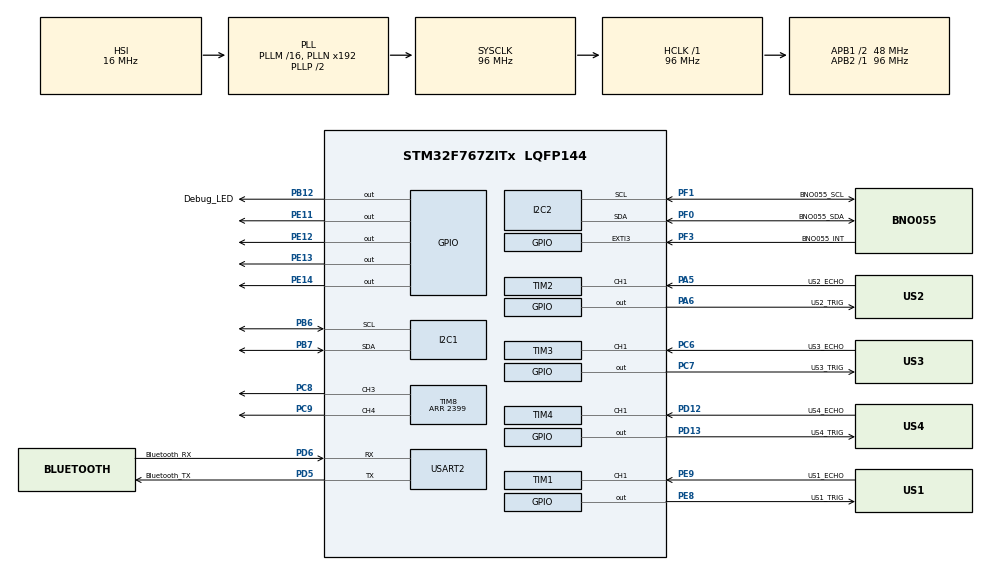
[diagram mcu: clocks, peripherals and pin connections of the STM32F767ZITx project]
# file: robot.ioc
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CORTEX_M7.default_mode_Activation=1
I2C1.Timing=0x20303E5D
I2C2.Timing=0x20303E5D
Mcu.Family=STM32F7
Mcu.Name=STM32F767ZITx
Mcu.Package=LQFP144
NVIC.EXTI3_IRQn=true\:0\:0\:false\:false\:true\:true\:true\:true
NVIC.PriorityGroup=NVIC_PRIORITYGROUP_4
NVIC.TIM1_BRK_TIM9_IRQn=true\:0\:0\:false\:false\:true\:true\:true\:true
NVIC.TIM1_CC_IRQn=true\:0\:0\:true\:false\:true\:true\:true\:true
NVIC.TIM2_IRQn=true\:0\:0\:true\:false\:true\:true\:true\:true
NVIC.TIM3_IRQn=true\:0\:0\:true\:false\:true\:true\:true\:true
NVIC.TIM4_IRQn=true\:0\:0\:true\:false\:true\:true\:true\:true
NVIC.USART2_IRQn=true\:2\:0\:true\:false\:true\:true\:true\:true
PA5.GPIO_Label=US2_ECHO
PA5.Signal=S_TIM2_CH1_ETR
PA6.GPIO_Label=US2_TRIG
PA6.Signal=GPIO_Output
PB12.GPIO_Label=Debug_LED
PB12.Signal=GPIO_Output
PB6.GPIO_Pu=GPIO_PULLUP
PB6.Mode=I2C
PB6.Signal=I2C1_SCL
PB7.GPIO_Pu=GPIO_PULLUP
PB7.Mode=I2C
PB7.Signal=I2C1_SDA
PC6.GPIO_Label=US3_ECHO
PC6.Signal=S_TIM3_CH1
PC7.GPIO_Label=US3_TRIG
PC7.Signal=GPIO_Output
PC8.Signal=S_TIM8_CH3
PC9.Signal=S_TIM8_CH4
PD12.GPIO_Label=US4_ECHO
PD12.Signal=S_TIM4_CH1
PD13.GPIO_Label=US4_TRIG
PD13.Signal=GPIO_Output
PD5.GPIO_Label=Bluetooth_TX
PD5.Mode=Asynchronous
PD5.Signal=USART2_TX
PD6.GPIO_Label=Bluetooth_RX
PD6.Mode=Asynchronous
PD6.Signal=USART2_RX
PE11.Signal=GPIO_Output
PE12.Signal=GPIO_Output
PE13.Signal=GPIO_Output
PE14.Signal=GPIO_Output
PE8.GPIO_Label=US1_TRIG
PE8.Signal=GPIO_Output
PE9.GPIO_Label=US1_ECHO
PE9.Signal=S_TIM1_CH1
PF0.GPIO_Label=BNO055_SDA
PF0.Mode=I2C
PF0.Signal=I2C2_SDA
PF1.GPIO_Label=BNO055_SCL
PF1.Mode=I2C
PF1.Signal=I2C2_SCL
PF3.GPIO_Label=BNO055_INT
PF3.Signal=GPXTI3
ProjectManager.HeapSize=0x200
ProjectManager.StackSize=0x400
ProjectManager.TargetToolchain=STM32CubeIDE
RCC.AHBFreq_Value=96000000
RCC.APB1CLKDivider=RCC_HCLK_DIV2
RCC.APB1Freq_Value=48000000
RCC.APB1TimFreq_Value=96000000
RCC.APB2Freq_Value=96000000
RCC.APB2TimFreq_Value=96000000
RCC.CortexFreq_Value=96000000
RCC.HCLKFreq_Value=96000000
RCC.HSE_VALUE=25000000
RCC.HSI_VALUE=16000000
RCC.LSE_VALUE=32768
RCC.SYSCLKFreq_VALUE=96000000
RCC.SYSCLKSource=RCC_SYSCLKSOURCE_PLLCLK
RCC.USBFreq_Value=96000000
RCC.VCOOutputFreq_Value=192000000
SH.S_TIM1_CH1.0=TIM1_CH1,Input_Capture1_from_TI1
SH.S_TIM2_CH1_ETR.0=TIM2_CH1,Input_Capture1_from_TI1
SH.S_TIM3_CH1.0=TIM3_CH1,Input_Capture1_from_TI1
SH.S_TIM4_CH1.0=TIM4_CH1,Input_Capture1_from_TI1
SH.S_TIM8_CH3.0=TIM8_CH3,PWM Generation3 CH3
SH.S_TIM8_CH4.0=TIM8_CH4,PWM Generation4 CH4
TIM1.Channel-Input_Capture1_from_TI1=TIM_CHANNEL_1
TIM1.Period=0xffff-1
TIM1.Prescaler=96-1
TIM2.Channel-Input_Capture1_from_TI1=TIM_CHANNEL_1
TIM2.Period=0xffff-1
TIM2.Prescaler=96-1
TIM3.Channel-Input_Capture1_from_TI1=TIM_CHANNEL_1
TIM3.Period=0xffff-1
TIM3.Prescaler=96-1
TIM4.Channel-Input_Capture1_from_TI1=TIM_CHANNEL_1
TIM4.Period=0xffff-1
TIM4.Prescaler=96-1
TIM8.Channel-PWM\ Generation3\ CH3=TIM_CHANNEL_3
TIM8.Channel-PWM\ Generation4\ CH4=TIM_CHANNEL_4
TIM8.Period=2399
TIM9.Period=62499
TIM9.Prescaler=383
USART2.VirtualMode-Asynchronous=VM_ASYNC
VP_TIM1_VS_ClockSourceINT.Mode=Internal
VP_TIM2_VS_ClockSourceINT.Mode=Internal
VP_TIM3_VS_ClockSourceINT.Mode=Internal
VP_TIM4_VS_ClockSourceINT.Mode=Internal
VP_TIM9_VS_ClockSourceINT.Mode=Internal
board=custom

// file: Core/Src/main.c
/* USER CODE BEGIN Header */
/**
  ******************************************************************************
  * @file           : main.c
  * @brief          : Main program body
  ******************************************************************************
  * @attention
  *
  * Copyright (c) 2025 STMicroelectronics.
  * All rights reserved.
  *
  * This software is licensed under terms that can be found in the LICENSE file
  * in the root directory of this software component.
  * If no LICENSE file comes with this software, it is provided AS-IS.
  *
  ******************************************************************************
  */
/* USER CODE END Header */
#include "main.h"

/* USER CODE BEGIN Includes */
#include "string.h"
#include "i2c-lcd.h"
#include "accel.h"
#include "math.h"
/* USER CODE END Includes */

/* USER CODE BEGIN PM */

#define BUFFER_SIZE 8 // 1 address, 6 for different expected data, 1 device status
#define BASE_STATE_BUSY 0
#define BASE_STATE_READY 1

#define TRIG_PORT_FRONT GPIOC
#define TRIG_PIN_FRONT GPIO_PIN_7

#define TRIG_PORT_BACK GPIOE
#define TRIG_PIN_BACK GPIO_PIN_8

#define TRIG_PORT_LEFT GPIOA
#define TRIG_PIN_LEFT GPIO_PIN_6

#define TRIG_PORT_RIGHT GPIOD
#define TRIG_PIN_RIGHT GPIO_PIN_13

#define LEFT_IC htim11
#define LEFT_IC_CHANNEL TIM_CHANNEL_1
#define LEFT_PWM htim8
#define LEFT_PWM_CHANNEL TIM_CHANNEL_4
#define LEFT_FORWARD GPIOE
#define LEFT_FORWARD_PIN GPIO_PIN_14
#define LEFT_REVERSE GPIOE
#define LEFT_REVERSE_PIN GPIO_PIN_13

#define RIGHT_IC htim10
#define RIGHT_IC_CHANNEL TIM_CHANNEL_1
#define RIGHT_PWM htim8
#define RIGHT_PWM_CHANNEL TIM_CHANNEL_3
#define RIGHT_FORWARD GPIOE
#define RIGHT_FORWARD_PIN GPIO_PIN_11
#define RIGHT_REVERSE GPIOE
#define RIGHT_REVERSE_PIN GPIO_PIN_12

#define error_t 10
#define pwm_period 2399
/* USER CODE END PM */

I2C_HandleTypeDef hi2c1;
I2C_HandleTypeDef hi2c2;

TIM_HandleTypeDef htim1;
TIM_HandleTypeDef htim2;
TIM_HandleTypeDef htim3;
TIM_HandleTypeDef htim4;
TIM_HandleTypeDef htim8;
TIM_HandleTypeDef htim9;

UART_HandleTypeDef huart2;

/* USER CODE BEGIN PV */

// For device communication
uint8_t base_rx_buffer [BUFFER_SIZE] = {0};  // RX Buffer (for communication with Base)
uint8_t base_tx_buffer [BUFFER_SIZE] = {0};  // TX Buffer (for communication with Base)
volatile uint8_t base_state = BASE_STATE_BUSY;  // State of the base (initialize to busy)
uint8_t ready_confirm_string [BUFFER_SIZE - 2] = {'0', '0', 'r', 'r', 'd', 'y'};
uint8_t move_success_string [BUFFER_SIZE - 2] = {'0', '0', 's', 'u', 'c', 'c'};
uint8_t move_fail_string [BUFFER_SIZE - 2] = {'0', '0', 'f', 'a', 'i', 'l'};
// "Test" string ONLY
uint8_t test2 [6] = {'d', 'e', 'e', 'z', 'n', 't'};

// For ultrasonic sensor reading
uint32_t idx = 0;
uint32_t val1 = 0;
uint32_t val2 = 0;
uint32_t distance [4] = {0};
uint8_t is_first_captured = 0;  // in cm
uint32_t distance_threshold = 10;  // threshold is 10 cm
uint8_t detection_status [6] = {0};
/*
 * Sensor position breakdown:
 * distance[0] -> front
 * distance[1] -> back
 * distance[2] -> left
 * distance[3] -> right
 */

// For IMU
uint8_t imu_readings[LIN_ACC_NUMBER_OF_BYTES + EULER_NUMBER_OF_BYTES];
int16_t euler_heading_raw = 0;

//for motor controller
int facing = 0;
float tide_angle = 0;
int tim9_counter = 0;
int ic_overrun = 0;

/* USER CODE END PV */

void SystemClock_Config(void);
static void MPU_Config(void);
static void MX_GPIO_Init(void);
static void MX_I2C2_Init(void);
static void MX_TIM1_Init(void);
static void MX_TIM2_Init(void);
static void MX_TIM3_Init(void);
static void MX_TIM4_Init(void);
static void MX_USART2_UART_Init(void);
static void MX_I2C1_Init(void);
static void MX_TIM8_Init(void);
static void MX_TIM9_Init(void);
/* USER CODE BEGIN PFP */

// For Device Communication
void Send_to_Base (uint8_t addr, uint8_t *data, uint8_t is_ready);
void Receive_from_Base(void);
void Interpret_Commands(uint8_t *rx_buffer);

// For Ultrasonics
void delay_in_us (uint16_t time, TIM_HandleTypeDef *htim);
void poll_ultrasonic (void);

// For Motors Controller
void Start_Diff_PWM(void);
void motors_controller(float on_r, float on_l);
void move(float x, float angle);

/* USER CODE END PFP */

/* USER CODE BEGIN 0 */

/************************ DEVICE COMMUNICATION (BLUETOOTH) ********************/

// Interpret commands
void Interpret_Commands(uint8_t *rx_buffer) {
	// Respond after establishing connection with Jetson
	if (strstr((const char * ) rx_buffer, "jrdy")) {
		Send_to_Base('0', ready_confirm_string, 1);
	}
	// Poll ultrasonic sensors
	else if (strstr((const char * ) rx_buffer, "poll")) {
		poll_ultrasonic();
	}
	// Start requested movement and rotation
	else if (strstr((const char * ) rx_buffer, "mve")) {
		// Define some variables
		float requested_heading;
		float do_move = 0;

		// Interpret requested movement
		if (rx_buffer[5] == '1') {
			do_move = 1;
		}
		else if (rx_buffer[5] == '0') {
			do_move = 0;
		}

		// Interpret requested rotation
		requested_heading = (float)(rx_buffer[6]) * 360 / 255;

		// MOVE!!
		poll_IMU(&hi2c2, imu_readings);
		euler_heading_raw = (((int16_t)((uint8_t *)(imu_readings))[5] << 8) | ((uint8_t *)(imu_readings))[4]);
		tide_angle = ((float)(euler_heading_raw))/16.0f;

		move(do_move, requested_heading);
		Send_to_Base('0', move_success_string,1);

		// Verify current heading is close to requested heading
		/*if ((tide_angle >= requested_heading - 10) && ((tide_angle <= requested_heading + 10) || (requested_heading > 350))) {
			Send_to_Base('0', move_success_string, 1);
		}
		else {
			Send_to_Base('0', move_fail_string, 1);
		}*/
	}
}

// Function to send bytes to Base
void Send_to_Base (uint8_t addr, uint8_t *data, uint8_t is_ready) {
	while (base_state != BASE_STATE_READY) {}
	// Assign address
	base_tx_buffer[0] = addr;
	// Assign data (until before the last byte)
	for (int i = 1; i < BUFFER_SIZE - 1; i++) {
		base_tx_buffer[i] = data[i - 1];
	}
	// Assign status byte
	if (is_ready) {
		base_tx_buffer[BUFFER_SIZE - 1] = 'r';
	}
	else {
		base_tx_buffer[BUFFER_SIZE - 1] = 'n';
	}
	// Transmit data packet
	HAL_UART_Transmit_IT(&huart2, base_tx_buffer, BUFFER_SIZE);
}

// Function to Receive bytes from Base
void Receive_from_Base(void) {
	HAL_UART_Receive_IT(&huart2, base_rx_buffer, BUFFER_SIZE);
}

// Callback function after transmitting data
void HAL_UART_TxCpltCallback(UART_HandleTypeDef *huart) {
	if (huart->Instance == huart2.Instance) {
		// Transmission fully complete, now listen for any messages from base
		base_state = BASE_STATE_BUSY;
		Receive_from_Base();
	}
}

// Callback function after receiving data
void HAL_UART_RxCpltCallback(UART_HandleTypeDef *huart) {
	if (huart->Instance == huart2.Instance) {
		// Ready?
		if (base_rx_buffer[BUFFER_SIZE - 1] == 'r') {
			base_state = BASE_STATE_READY;
		}
		// Is this for Robot?
		if (base_rx_buffer[0] == '2') {
			// Interpret commands
			Interpret_Commands(base_rx_buffer);
		}
	}
}

/*************************** ULTRASONIC SENSOR READING ************************/

// Function that delays in microseconds (usec)
void delay_in_us (uint16_t time, TIM_HandleTypeDef *htim) {
	__HAL_TIM_SET_COUNTER(htim, 0);
	while (__HAL_TIM_GET_COUNTER(htim) <  time);
}

// Poll ultrasonic sensors
void poll_ultrasonic (void) {
	// Front Sensor
	idx = 0;
	HAL_GPIO_WritePin(TRIG_PORT_FRONT, TRIG_PIN_FRONT, GPIO_PIN_SET);  // pull the TRIG pin HIGH
	delay_in_us(10, &htim3);  // wait for 10 us
	HAL_GPIO_WritePin(TRIG_PORT_FRONT, TRIG_PIN_FRONT, GPIO_PIN_RESET);  // pull the TRIG pin low
	__HAL_TIM_ENABLE_IT(&htim3, TIM_IT_CC1);
	HAL_Delay(10);
	while(is_first_captured != 0);

	// Back Sensor
	idx = 1;

	HAL_GPIO_WritePin(TRIG_PORT_BACK, TRIG_PIN_BACK, GPIO_PIN_SET);  // pull the TRIG pin HIGH
	delay_in_us(10, &htim1);  // wait for 10 us
	HAL_GPIO_WritePin(TRIG_PORT_BACK, TRIG_PIN_BACK, GPIO_PIN_RESET);  // pull the TRIG pin low
	__HAL_TIM_ENABLE_IT(&htim1, TIM_IT_CC1);
	HAL_Delay(10);
	while(is_first_captured != 0);

	// Left Sensor
	idx = 2;
	HAL_GPIO_WritePin(TRIG_PORT_LEFT, TRIG_PIN_LEFT, GPIO_PIN_SET);  // pull the TRIG pin HIGH
	delay_in_us(10, &htim2);  // wait for 10 us
	HAL_GPIO_WritePin(TRIG_PORT_LEFT, TRIG_PIN_LEFT, GPIO_PIN_RESET);  // pull the TRIG pin low
	__HAL_TIM_ENABLE_IT(&htim2, TIM_IT_CC1);
	HAL_Delay(10);
	while(is_first_captured != 0);

	// Right Sensor
	idx = 3;
	HAL_GPIO_WritePin(TRIG_PORT_RIGHT, TRIG_PIN_RIGHT, GPIO_PIN_SET);  // pull the TRIG pin HIGH
	delay_in_us(10, &htim4);  // wait for 10 us
	HAL_GPIO_WritePin(TRIG_PORT_RIGHT, TRIG_PIN_RIGHT, GPIO_PIN_RESET);  // pull the TRIG pin low
	__HAL_TIM_ENABLE_IT(&htim4, TIM_IT_CC1);
	HAL_Delay(10);
	while(is_first_captured != 0);

	// Display Detection Status on LCD Screen
	lcd_put_cur(1, 2);
	lcd_send_data(detection_status[0]);
	lcd_put_cur(1, 6);
	lcd_send_data(detection_status[1]);
	lcd_put_cur(1, 10);
	lcd_send_data(detection_status[2]);
	lcd_put_cur(1, 14);
	lcd_send_data(detection_status[3]);

	// Set last bytes to '0'
	detection_status[4] = '0';
	detection_status[5] = '0';

	// Send detection status to Jetson
	Send_to_Base('0', detection_status, 1);
}

// Input Capture Callback Function
void HAL_TIM_IC_CaptureCallback (TIM_HandleTypeDef *htim) {
	if (htim->Channel == HAL_TIM_ACTIVE_CHANNEL_1) { // If the interrupt source is channel 1
		if (is_first_captured == 0) { // If the first value is not captured
			val1 = HAL_TIM_ReadCapturedValue(htim, TIM_CHANNEL_1); // Read the first value
			is_first_captured = 1;
			// Change the polarity to falling edge
			__HAL_TIM_SET_CAPTUREPOLARITY(htim, TIM_CHANNEL_1, TIM_INPUTCHANNELPOLARITY_FALLING);
		}
		else if (is_first_captured == 1) { // If the first is already captured
			uint32_t diff;
			val2 = HAL_TIM_ReadCapturedValue(htim, TIM_CHANNEL_1);  // Read second value
			__HAL_TIM_SET_COUNTER(htim, 0);  // Reset the counter

			if (val2 > val1) {
				diff = val2 - val1; // diff is in microseconds
			}

			else if (val1 > val2) {
				diff = (0xffff - val1) + val2;  // diff is in microseconds
			}

			distance[idx] = diff * .034/2;  // UNITS BREAKDOWN: (10^(-6) s) * (10^4 m/s) = 10^(-2) m = cm -> distance is in cm
			is_first_captured = 0; // Set back to false

			// Set polarity to rising edge
			__HAL_TIM_SET_CAPTUREPOLARITY(htim, TIM_CHANNEL_1, TIM_INPUTCHANNELPOLARITY_RISING);
			__HAL_TIM_DISABLE_IT(htim, TIM_IT_CC1);

			// Compare with distance threshold
			if (distance[idx] < distance_threshold) {
				detection_status[idx] = '1';  // obstacle detected!
			}
			else {
				detection_status[idx] = '0';  // no obstacle detected
			}
		}
	}
}

/************************ MOTOR CONTROLLER ********************/
void Start_Diff_PWM(void) {
	HAL_TIM_PWM_Start(&htim8, TIM_CHANNEL_3);
	__HAL_TIM_SET_COMPARE(&htim8, TIM_CHANNEL_3, 0);
	HAL_TIM_PWM_Start(&htim8, TIM_CHANNEL_4);
	__HAL_TIM_SET_COMPARE(&htim8, TIM_CHANNEL_4, 0);
}

void move(float x, float angle) {
	/*while(fabs(angle - tide_angle) > error_t) {
		poll_IMU(&hi2c2, imu_readings);
		euler_heading_raw = (((int16_t)((uint8_t *)(imu_readings))[5] << 8) | ((uint8_t *)(imu_readings))[4]);
		tide_angle = ((float)(euler_heading_raw))/16.0f;
		float angle_diff = fabs(angle - tide_angle);
		//assume within tolerance, not enough time in project to do otherwise
		//if angle difference is positive, turn right
		//if angle difference is negative, turn left
		if(angle_diff < 0) {
			while(angle_diff < error_t) {
				poll_IMU(&hi2c2, imu_readings);
				euler_heading_raw = (((int16_t)((uint8_t *)(imu_readings))[5] << 8) | ((uint8_t *)(imu_readings))[4]);
				tide_angle = ((float)(euler_heading_raw))/16.0f;
				motors_controller(1, -1);
				angle_diff = fabs(angle - tide_angle);
			}
		}
		else if(angle_diff > 0) {
			while(angle_diff > error_t) {
				poll_IMU(&hi2c2, imu_readings);
				euler_heading_raw = (((int16_t)((uint8_t *)(imu_readings))[5] << 8) | ((uint8_t *)(imu_readings))[4]);
				tide_angle = ((float)(euler_heading_raw))/16.0f;
				motors_controller(-1, 1);
				angle_diff = fabs(angle - tide_angle);
			}
		}
	}*/
	//calculated equation. assume x is in 6 inch intervals
	if(x == 1) {
		motors_controller(1,1);
		HAL_TIM_Base_Start_IT(&htim9);
		TIM9 -> CR1 |= 0b1;
		//wait for timer to overrun the 4.25 second period
		while(!ic_overrun);
		motors_controller(0,0);
		TIM9 -> CNT = 0;
		ic_overrun = 0;
		tim9_counter = 0;
	}
}

void motors_controller(float on_r, float on_l) {
	if(on_r == 1) {
		HAL_GPIO_WritePin(RIGHT_REVERSE, RIGHT_REVERSE_PIN, GPIO_PIN_RESET);
		HAL_GPIO_WritePin(RIGHT_FORWARD, RIGHT_FORWARD_PIN, GPIO_PIN_SET);
		__HAL_TIM_SET_COMPARE(&RIGHT_PWM, RIGHT_PWM_CHANNEL, 0.8 * pwm_period);
	}
	else if(on_r == -1) {
		HAL_GPIO_WritePin(RIGHT_FORWARD, RIGHT_FORWARD_PIN, GPIO_PIN_RESET);
		HAL_GPIO_WritePin(RIGHT_REVERSE, RIGHT_REVERSE_PIN, GPIO_PIN_SET);
		__HAL_TIM_SET_COMPARE(&RIGHT_PWM, RIGHT_PWM_CHANNEL, 0.8 * pwm_period);
	}
	else {
		__HAL_TIM_SET_COMPARE(&RIGHT_PWM, RIGHT_PWM_CHANNEL, 0);
		HAL_GPIO_WritePin(RIGHT_FORWARD, RIGHT_FORWARD_PIN, GPIO_PIN_RESET);
		HAL_GPIO_WritePin(RIGHT_REVERSE, RIGHT_REVERSE_PIN, GPIO_PIN_RESET);
	}

	if(on_l == 1) {
		HAL_GPIO_WritePin(LEFT_REVERSE, LEFT_REVERSE_PIN, GPIO_PIN_RESET);
		HAL_GPIO_WritePin(LEFT_FORWARD, LEFT_FORWARD_PIN, GPIO_PIN_SET);
		__HAL_TIM_SET_COMPARE(&LEFT_PWM, LEFT_PWM_CHANNEL, 0.778 * pwm_period);
	}
	else if(on_l == -1) {
		HAL_GPIO_WritePin(LEFT_FORWARD, LEFT_FORWARD_PIN, GPIO_PIN_RESET);
		HAL_GPIO_WritePin(LEFT_REVERSE, LEFT_REVERSE_PIN, GPIO_PIN_SET);
		__HAL_TIM_SET_COMPARE(&LEFT_PWM, LEFT_PWM_CHANNEL, 0.778 * pwm_period);
	}
	else {
		__HAL_TIM_SET_COMPARE(&LEFT_PWM, LEFT_PWM_CHANNEL, 0);
		HAL_GPIO_WritePin(LEFT_FORWARD, LEFT_FORWARD_PIN, GPIO_PIN_RESET);
		HAL_GPIO_WritePin(LEFT_REVERSE, LEFT_REVERSE_PIN, GPIO_PIN_RESET);
	}
}

void HAL_TIM_PeriodElapsedCallback(TIM_HandleTypeDef *htim) {
	if(htim->Instance == htim9.Instance){
		__HAL_TIM_CLEAR_IT(htim, TIM_IT_UPDATE);
		tim9_counter++;
		if(tim9_counter >= 17){
			ic_overrun = 1;
			TIM9 -> CR1 &= ~0b1;
		}
	}
}

/* USER CODE END 0 */

int main(void)
{

  /* USER CODE BEGIN 1 */
	/*
	int16_t euler_data [3];
	float euler_heading, euler_roll, euler_pitch;
	float euler_heading_abs, euler_roll_abs, euler_pitch_abs;
	*/

  /* USER CODE END 1 */

  /* MPU Configuration--------------------------------------------------------*/
  MPU_Config();

  /* MCU Configuration--------------------------------------------------------*/

  /* Reset of all peripherals, Initializes the Flash interface and the Systick. */
  HAL_Init();
  Start_Diff_PWM();

  /* Configure the system clock */
  SystemClock_Config();

  /* Initialize all configured peripherals */
  MX_GPIO_Init();
  MX_I2C2_Init();
  MX_TIM1_Init();
  MX_TIM2_Init();
  MX_TIM3_Init();
  MX_TIM4_Init();
  MX_USART2_UART_Init();
  MX_I2C1_Init();
  MX_TIM8_Init();
  MX_TIM9_Init();
  /* USER CODE BEGIN 2 */

  // Turn ON Debug LED
  HAL_GPIO_WritePin(GPIOB, GPIO_PIN_12, 1);

  // Comment when not using LCD screen
  lcd_init();

  // lcd_send_string("TID-E - Team 14");

  // Display intial stuff
  lcd_send_string (" Px  Nx  Py  Ny");
  lcd_put_cur(1, 2);
  lcd_send_string("0   0   0   0");

  // Start and configure IMU
  BNO055_Init_I2C(&hi2c2);

  // Start receiving from base
  Receive_from_Base();

  /* USER CODE END 2 */

  /* Infinite loop */
  while (1)
  {

    /* USER CODE BEGIN 3 */
	  /*
	  poll_ultrasonic();
	  lcd_put_cur(1, 2);
	  lcd_send_data(detection_status[0]);
	  lcd_put_cur(1, 6);
	  lcd_send_data(detection_status[1]);
	  lcd_put_cur(1, 10);
	  lcd_send_data(detection_status[2]);
	  lcd_put_cur(1, 14);
	  lcd_send_data(detection_status[3]);
	  */

	  /*
	  HAL_Delay(100);
	  // Poll IMU
	  poll_IMU(&hi2c2, imu_readings);
	  euler_data[0] = (((int16_t)((uint8_t *)(imu_readings))[5] << 8) | ((uint8_t *)(imu_readings))[4]);
	  euler_data[1] = (((int16_t)((uint8_t *)(imu_readings))[7] << 8) | ((uint8_t *)(imu_readings))[6]);
	  euler_data[2] = (((int16_t)((uint8_t *)(imu_readings))[9] << 8) | ((uint8_t *)(imu_readings))[8]);

	  // Get Euler angles in degrees
	  euler_heading = ((float)(euler_data[0]))/16.0f;
	  euler_roll = ((float)(euler_data[1]))/16.0f;
	  euler_pitch = ((float)(euler_data[2]))/16.0f;

	  // Get absolute magnitude of Euler angles
	  euler_heading_abs = (euler_heading < 0) ? -euler_heading : euler_heading;
	  euler_roll_abs = (euler_roll < 0) ? -euler_roll : euler_roll;
	  euler_pitch_abs = (euler_pitch < 0) ? -euler_pitch : euler_pitch;

	  // Print euler_heading
	  lcd_put_cur(1, 0);
	  lcd_send_string((euler_heading < 0) ? "-" : "+");
	  lcd_send_data((((int)(euler_heading_abs) / 100) % 10) + 48);   // 100th pos
	  lcd_send_data((((int)(euler_heading_abs) / 10) % 10) + 48);  // 10th pos
	  lcd_send_data(((int)(euler_heading_abs) % 10) + 48);  // 1st pos

	  // Print euler_roll
	  lcd_put_cur(1, 6);
	  lcd_send_string((euler_roll < 0) ? "-" : "+");
	  lcd_send_data((((int)(euler_roll_abs) / 100) % 10) + 48);   // 100th pos
	  lcd_send_data((((int)(euler_roll_abs) / 10) % 10) + 48);  // 10th pos
	  lcd_send_data(((int)(euler_roll_abs) % 10) + 48);  // 1st pos

	  // Print euler_pitch
	  lcd_put_cur(1, 12);
	  lcd_send_string((euler_pitch < 0) ? "-" : "+");
	  lcd_send_data((((int)(euler_pitch_abs) / 100) % 10) + 48);   // 100th pos
	  lcd_send_data((((int)(euler_pitch_abs) / 10) % 10) + 48);  // 10th pos
	  lcd_send_data(((int)(euler_pitch_abs) % 10) + 48);  // 1st pos
	  */

  }
  /* USER CODE END 3 */
}

void SystemClock_Config(void)
{
  RCC_OscInitTypeDef RCC_OscInitStruct = {0};
  RCC_ClkInitTypeDef RCC_ClkInitStruct = {0};

  /** Configure the main internal regulator output voltage
  */
  __HAL_RCC_PWR_CLK_ENABLE();
  __HAL_PWR_VOLTAGESCALING_CONFIG(PWR_REGULATOR_VOLTAGE_SCALE3);

  /** Initializes the RCC Oscillators according to the specified parameters
  * in the RCC_OscInitTypeDef structure.
  */
  RCC_OscInitStruct.OscillatorType = RCC_OSCILLATORTYPE_HSI;
  RCC_OscInitStruct.HSIState = RCC_HSI_ON;
  RCC_OscInitStruct.HSICalibrationValue = RCC_HSICALIBRATION_DEFAULT;
  RCC_OscInitStruct.PLL.PLLState = RCC_PLL_ON;
  RCC_OscInitStruct.PLL.PLLSource = RCC_PLLSOURCE_HSI;
  RCC_OscInitStruct.PLL.PLLM = 16;
  RCC_OscInitStruct.PLL.PLLN = 192;
  RCC_OscInitStruct.PLL.PLLP = RCC_PLLP_DIV2;
  RCC_OscInitStruct.PLL.PLLQ = 2;
  RCC_OscInitStruct.PLL.PLLR = 2;
  if (HAL_RCC_OscConfig(&RCC_OscInitStruct) != HAL_OK)
  {
    Error_Handler();
  }

  /** Activate the Over-Drive mode
  */
  if (HAL_PWREx_EnableOverDrive() != HAL_OK)
  {
    Error_Handler();
  }

  /** Initializes the CPU, AHB and APB buses clocks
  */
  RCC_ClkInitStruct.ClockType = RCC_CLOCKTYPE_HCLK|RCC_CLOCKTYPE_SYSCLK
                              |RCC_CLOCKTYPE_PCLK1|RCC_CLOCKTYPE_PCLK2;
  RCC_ClkInitStruct.SYSCLKSource = RCC_SYSCLKSOURCE_PLLCLK;
  RCC_ClkInitStruct.AHBCLKDivider = RCC_SYSCLK_DIV1;
  RCC_ClkInitStruct.APB1CLKDivider = RCC_HCLK_DIV2;
  RCC_ClkInitStruct.APB2CLKDivider = RCC_HCLK_DIV1;

  if (HAL_RCC_ClockConfig(&RCC_ClkInitStruct, FLASH_LATENCY_3) != HAL_OK)
  {
    Error_Handler();
  }
}

static void MX_I2C1_Init(void)
{

  hi2c1.Instance = I2C1;
  hi2c1.Init.Timing = 0x20303E5D;
  hi2c1.Init.OwnAddress1 = 0;
  hi2c1.Init.AddressingMode = I2C_ADDRESSINGMODE_7BIT;
  hi2c1.Init.DualAddressMode = I2C_DUALADDRESS_DISABLE;
  hi2c1.Init.OwnAddress2 = 0;
  hi2c1.Init.OwnAddress2Masks = I2C_OA2_NOMASK;
  hi2c1.Init.GeneralCallMode = I2C_GENERALCALL_DISABLE;
  hi2c1.Init.NoStretchMode = I2C_NOSTRETCH_DISABLE;
  if (HAL_I2C_Init(&hi2c1) != HAL_OK)
  {
    Error_Handler();
  }

  /** Configure Analogue filter
  */
  if (HAL_I2CEx_ConfigAnalogFilter(&hi2c1, I2C_ANALOGFILTER_ENABLE) != HAL_OK)
  {
    Error_Handler();
  }

  /** Configure Digital filter
  */
  if (HAL_I2CEx_ConfigDigitalFilter(&hi2c1, 0) != HAL_OK)
  {
    Error_Handler();
  }

}

static void MX_I2C2_Init(void)
{

  hi2c2.Instance = I2C2;
  hi2c2.Init.Timing = 0x20303E5D;
  hi2c2.Init.OwnAddress1 = 0;
  hi2c2.Init.AddressingMode = I2C_ADDRESSINGMODE_7BIT;
  hi2c2.Init.DualAddressMode = I2C_DUALADDRESS_DISABLE;
  hi2c2.Init.OwnAddress2 = 0;
  hi2c2.Init.OwnAddress2Masks = I2C_OA2_NOMASK;
  hi2c2.Init.GeneralCallMode = I2C_GENERALCALL_DISABLE;
  hi2c2.Init.NoStretchMode = I2C_NOSTRETCH_DISABLE;
  if (HAL_I2C_Init(&hi2c2) != HAL_OK)
  {
    Error_Handler();
  }

  /** Configure Analogue filter
  */
  if (HAL_I2CEx_ConfigAnalogFilter(&hi2c2, I2C_ANALOGFILTER_ENABLE) != HAL_OK)
  {
    Error_Handler();
  }

  /** Configure Digital filter
  */
  if (HAL_I2CEx_ConfigDigitalFilter(&hi2c2, 0) != HAL_OK)
  {
    Error_Handler();
  }

}

static void MX_TIM1_Init(void)
{

  TIM_ClockConfigTypeDef sClockSourceConfig = {0};
  TIM_MasterConfigTypeDef sMasterConfig = {0};
  TIM_IC_InitTypeDef sConfigIC = {0};

  htim1.Instance = TIM1;
  htim1.Init.Prescaler = 96-1;
  htim1.Init.CounterMode = TIM_COUNTERMODE_UP;
  htim1.Init.Period = 0xffff-1;
  htim1.Init.ClockDivision = TIM_CLOCKDIVISION_DIV1;
  htim1.Init.RepetitionCounter = 0;
  htim1.Init.AutoReloadPreload = TIM_AUTORELOAD_PRELOAD_DISABLE;
  if (HAL_TIM_Base_Init(&htim1) != HAL_OK)
  {
    Error_Handler();
  }
  sClockSourceConfig.ClockSource = TIM_CLOCKSOURCE_INTERNAL;
  if (HAL_TIM_ConfigClockSource(&htim1, &sClockSourceConfig) != HAL_OK)
  {
    Error_Handler();
  }
  if (HAL_TIM_IC_Init(&htim1) != HAL_OK)
  {
    Error_Handler();
  }
  sMasterConfig.MasterOutputTrigger = TIM_TRGO_RESET;
  sMasterConfig.MasterOutputTrigger2 = TIM_TRGO2_RESET;
  sMasterConfig.MasterSlaveMode = TIM_MASTERSLAVEMODE_DISABLE;
  if (HAL_TIMEx_MasterConfigSynchronization(&htim1, &sMasterConfig) != HAL_OK)
  {
    Error_Handler();
  }
  sConfigIC.ICPolarity = TIM_INPUTCHANNELPOLARITY_RISING;
  sConfigIC.ICSelection = TIM_ICSELECTION_DIRECTTI;
  sConfigIC.ICPrescaler = TIM_ICPSC_DIV1;
  sConfigIC.ICFilter = 0;
  if (HAL_TIM_IC_ConfigChannel(&htim1, &sConfigIC, TIM_CHANNEL_1) != HAL_OK)
  {
    Error_Handler();
  }
  /* USER CODE BEGIN TIM1_Init 2 */
  HAL_TIM_IC_Start_IT(&htim1, TIM_CHANNEL_1);
  /* USER CODE END TIM1_Init 2 */

}

static void MX_TIM2_Init(void)
{

  TIM_ClockConfigTypeDef sClockSourceConfig = {0};
  TIM_MasterConfigTypeDef sMasterConfig = {0};
  TIM_IC_InitTypeDef sConfigIC = {0};

  htim2.Instance = TIM2;
  htim2.Init.Prescaler = 96-1;
  htim2.Init.CounterMode = TIM_COUNTERMODE_UP;
  htim2.Init.Period = 0xffff-1;
  htim2.Init.ClockDivision = TIM_CLOCKDIVISION_DIV1;
  htim2.Init.AutoReloadPreload = TIM_AUTORELOAD_PRELOAD_DISABLE;
  if (HAL_TIM_Base_Init(&htim2) != HAL_OK)
  {
    Error_Handler();
  }
  sClockSourceConfig.ClockSource = TIM_CLOCKSOURCE_INTERNAL;
  if (HAL_TIM_ConfigClockSource(&htim2, &sClockSourceConfig) != HAL_OK)
  {
    Error_Handler();
  }
  if (HAL_TIM_IC_Init(&htim2) != HAL_OK)
  {
    Error_Handler();
  }
  sMasterConfig.MasterOutputTrigger = TIM_TRGO_RESET;
  sMasterConfig.MasterSlaveMode = TIM_MASTERSLAVEMODE_DISABLE;
  if (HAL_TIMEx_MasterConfigSynchronization(&htim2, &sMasterConfig) != HAL_OK)
  {
    Error_Handler();
  }
  sConfigIC.ICPolarity = TIM_INPUTCHANNELPOLARITY_RISING;
  sConfigIC.ICSelection = TIM_ICSELECTION_DIRECTTI;
  sConfigIC.ICPrescaler = TIM_ICPSC_DIV1;
  sConfigIC.ICFilter = 0;
  if (HAL_TIM_IC_ConfigChannel(&htim2, &sConfigIC, TIM_CHANNEL_1) != HAL_OK)
  {
    Error_Handler();
  }
  /* USER CODE BEGIN TIM2_Init 2 */
  HAL_TIM_IC_Start_IT(&htim2, TIM_CHANNEL_1);
  /* USER CODE END TIM2_Init 2 */

}

static void MX_TIM3_Init(void)
{

  TIM_ClockConfigTypeDef sClockSourceConfig = {0};
  TIM_MasterConfigTypeDef sMasterConfig = {0};
  TIM_IC_InitTypeDef sConfigIC = {0};

  htim3.Instance = TIM3;
  htim3.Init.Prescaler = 96-1;
  htim3.Init.CounterMode = TIM_COUNTERMODE_UP;
  htim3.Init.Period = 0xffff-1;
  htim3.Init.ClockDivision = TIM_CLOCKDIVISION_DIV1;
  htim3.Init.AutoReloadPreload = TIM_AUTORELOAD_PRELOAD_DISABLE;
  if (HAL_TIM_Base_Init(&htim3) != HAL_OK)
  {
    Error_Handler();
  }
  sClockSourceConfig.ClockSource = TIM_CLOCKSOURCE_INTERNAL;
  if (HAL_TIM_ConfigClockSource(&htim3, &sClockSourceConfig) != HAL_OK)
  {
    Error_Handler();
  }
  if (HAL_TIM_IC_Init(&htim3) != HAL_OK)
  {
    Error_Handler();
  }
  sMasterConfig.MasterOutputTrigger = TIM_TRGO_RESET;
  sMasterConfig.MasterSlaveMode = TIM_MASTERSLAVEMODE_DISABLE;
  if (HAL_TIMEx_MasterConfigSynchronization(&htim3, &sMasterConfig) != HAL_OK)
  {
    Error_Handler();
  }
  sConfigIC.ICPolarity = TIM_INPUTCHANNELPOLARITY_RISING;
  sConfigIC.ICSelection = TIM_ICSELECTION_DIRECTTI;
  sConfigIC.ICPrescaler = TIM_ICPSC_DIV1;
  sConfigIC.ICFilter = 0;
  if (HAL_TIM_IC_ConfigChannel(&htim3, &sConfigIC, TIM_CHANNEL_1) != HAL_OK)
  {
    Error_Handler();
  }
  /* USER CODE BEGIN TIM3_Init 2 */
  HAL_TIM_IC_Start_IT(&htim3, TIM_CHANNEL_1);
  /* USER CODE END TIM3_Init 2 */

}

static void MX_TIM4_Init(void)
{

  TIM_ClockConfigTypeDef sClockSourceConfig = {0};
  TIM_MasterConfigTypeDef sMasterConfig = {0};
  TIM_IC_InitTypeDef sConfigIC = {0};

  htim4.Instance = TIM4;
  htim4.Init.Prescaler = 96-1;
  htim4.Init.CounterMode = TIM_COUNTERMODE_UP;
  htim4.Init.Period = 0xffff-1;
  htim4.Init.ClockDivision = TIM_CLOCKDIVISION_DIV1;
  htim4.Init.AutoReloadPreload = TIM_AUTORELOAD_PRELOAD_DISABLE;
  if (HAL_TIM_Base_Init(&htim4) != HAL_OK)
  {
    Error_Handler();
  }
  sClockSourceConfig.ClockSource = TIM_CLOCKSOURCE_INTERNAL;
  if (HAL_TIM_ConfigClockSource(&htim4, &sClockSourceConfig) != HAL_OK)
  {
    Error_Handler();
  }
  if (HAL_TIM_IC_Init(&htim4) != HAL_OK)
  {
    Error_Handler();
  }
  sMasterConfig.MasterOutputTrigger = TIM_TRGO_RESET;
  sMasterConfig.MasterSlaveMode = TIM_MASTERSLAVEMODE_DISABLE;
  if (HAL_TIMEx_MasterConfigSynchronization(&htim4, &sMasterConfig) != HAL_OK)
  {
    Error_Handler();
  }
  sConfigIC.ICPolarity = TIM_INPUTCHANNELPOLARITY_RISING;
  sConfigIC.ICSelection = TIM_ICSELECTION_DIRECTTI;
  sConfigIC.ICPrescaler = TIM_ICPSC_DIV1;
  sConfigIC.ICFilter = 0;
  if (HAL_TIM_IC_ConfigChannel(&htim4, &sConfigIC, TIM_CHANNEL_1) != HAL_OK)
  {
    Error_Handler();
  }
  /* USER CODE BEGIN TIM4_Init 2 */
  HAL_TIM_IC_Start_IT(&htim4, TIM_CHANNEL_1);
  /* USER CODE END TIM4_Init 2 */

}

static void MX_TIM8_Init(void)
{

  TIM_MasterConfigTypeDef sMasterConfig = {0};
  TIM_OC_InitTypeDef sConfigOC = {0};
  TIM_BreakDeadTimeConfigTypeDef sBreakDeadTimeConfig = {0};

  htim8.Instance = TIM8;
  htim8.Init.Prescaler = 0;
  htim8.Init.CounterMode = TIM_COUNTERMODE_UP;
  htim8.Init.Period = 2399;
  htim8.Init.ClockDivision = TIM_CLOCKDIVISION_DIV1;
  htim8.Init.RepetitionCounter = 0;
  htim8.Init.AutoReloadPreload = TIM_AUTORELOAD_PRELOAD_DISABLE;
  if (HAL_TIM_PWM_Init(&htim8) != HAL_OK)
  {
    Error_Handler();
  }
  sMasterConfig.MasterOutputTrigger = TIM_TRGO_RESET;
  sMasterConfig.MasterOutputTrigger2 = TIM_TRGO2_RESET;
  sMasterConfig.MasterSlaveMode = TIM_MASTERSLAVEMODE_DISABLE;
  if (HAL_TIMEx_MasterConfigSynchronization(&htim8, &sMasterConfig) != HAL_OK)
  {
    Error_Handler();
  }
  sConfigOC.OCMode = TIM_OCMODE_PWM1;
  sConfigOC.Pulse = 0;
  sConfigOC.OCPolarity = TIM_OCPOLARITY_HIGH;
  sConfigOC.OCNPolarity = TIM_OCNPOLARITY_HIGH;
  sConfigOC.OCFastMode = TIM_OCFAST_DISABLE;
  sConfigOC.OCIdleState = TIM_OCIDLESTATE_RESET;
  sConfigOC.OCNIdleState = TIM_OCNIDLESTATE_RESET;
  if (HAL_TIM_PWM_ConfigChannel(&htim8, &sConfigOC, TIM_CHANNEL_3) != HAL_OK)
  {
    Error_Handler();
  }
  if (HAL_TIM_PWM_ConfigChannel(&htim8, &sConfigOC, TIM_CHANNEL_4) != HAL_OK)
  {
    Error_Handler();
  }
  sBreakDeadTimeConfig.OffStateRunMode = TIM_OSSR_DISABLE;
  sBreakDeadTimeConfig.OffStateIDLEMode = TIM_OSSI_DISABLE;
  sBreakDeadTimeConfig.LockLevel = TIM_LOCKLEVEL_OFF;
  sBreakDeadTimeConfig.DeadTime = 0;
  sBreakDeadTimeConfig.BreakState = TIM_BREAK_DISABLE;
  sBreakDeadTimeConfig.BreakPolarity = TIM_BREAKPOLARITY_HIGH;
  sBreakDeadTimeConfig.BreakFilter = 0;
  sBreakDeadTimeConfig.Break2State = TIM_BREAK2_DISABLE;
  sBreakDeadTimeConfig.Break2Polarity = TIM_BREAK2POLARITY_HIGH;
  sBreakDeadTimeConfig.Break2Filter = 0;
  sBreakDeadTimeConfig.AutomaticOutput = TIM_AUTOMATICOUTPUT_DISABLE;
  if (HAL_TIMEx_ConfigBreakDeadTime(&htim8, &sBreakDeadTimeConfig) != HAL_OK)
  {
    Error_Handler();
  }
  HAL_TIM_MspPostInit(&htim8);

}

static void MX_TIM9_Init(void)
{

  TIM_ClockConfigTypeDef sClockSourceConfig = {0};

  htim9.Instance = TIM9;
  htim9.Init.Prescaler = 383;
  htim9.Init.CounterMode = TIM_COUNTERMODE_UP;
  htim9.Init.Period = 62499;
  htim9.Init.ClockDivision = TIM_CLOCKDIVISION_DIV1;
  htim9.Init.AutoReloadPreload = TIM_AUTORELOAD_PRELOAD_DISABLE;
  if (HAL_TIM_Base_Init(&htim9) != HAL_OK)
  {
    Error_Handler();
  }
  sClockSourceConfig.ClockSource = TIM_CLOCKSOURCE_INTERNAL;
  if (HAL_TIM_ConfigClockSource(&htim9, &sClockSourceConfig) != HAL_OK)
  {
    Error_Handler();
  }

}

static void MX_USART2_UART_Init(void)
{

  huart2.Instance = USART2;
  huart2.Init.BaudRate = 115200;
  huart2.Init.WordLength = UART_WORDLENGTH_8B;
  huart2.Init.StopBits = UART_STOPBITS_1;
  huart2.Init.Parity = UART_PARITY_NONE;
  huart2.Init.Mode = UART_MODE_TX_RX;
  huart2.Init.HwFlowCtl = UART_HWCONTROL_NONE;
  huart2.Init.OverSampling = UART_OVERSAMPLING_16;
  huart2.Init.OneBitSampling = UART_ONE_BIT_SAMPLE_DISABLE;
  huart2.AdvancedInit.AdvFeatureInit = UART_ADVFEATURE_NO_INIT;
  if (HAL_UART_Init(&huart2) != HAL_OK)
  {
    Error_Handler();
  }

}

static void MX_GPIO_Init(void)
{
  GPIO_InitTypeDef GPIO_InitStruct = {0};

  /* GPIO Ports Clock Enable */
  __HAL_RCC_GPIOF_CLK_ENABLE();
  __HAL_RCC_GPIOA_CLK_ENABLE();
  __HAL_RCC_GPIOE_CLK_ENABLE();
  __HAL_RCC_GPIOB_CLK_ENABLE();
  __HAL_RCC_GPIOD_CLK_ENABLE();
  __HAL_RCC_GPIOC_CLK_ENABLE();

  /*Configure GPIO pin Output Level */
  HAL_GPIO_WritePin(US2_TRIG_GPIO_Port, US2_TRIG_Pin, GPIO_PIN_RESET);

  /*Configure GPIO pin Output Level */
  HAL_GPIO_WritePin(GPIOE, US1_TRIG_Pin|GPIO_PIN_11|GPIO_PIN_12|GPIO_PIN_13
                          |GPIO_PIN_14, GPIO_PIN_RESET);

  /*Configure GPIO pin Output Level */
  HAL_GPIO_WritePin(Debug_LED_GPIO_Port, Debug_LED_Pin, GPIO_PIN_RESET);

  /*Configure GPIO pin Output Level */
  HAL_GPIO_WritePin(US4_TRIG_GPIO_Port, US4_TRIG_Pin, GPIO_PIN_RESET);

  /*Configure GPIO pin Output Level */
  HAL_GPIO_WritePin(US3_TRIG_GPIO_Port, US3_TRIG_Pin, GPIO_PIN_RESET);

  /*Configure GPIO pin : BNO055_INT_Pin */
  GPIO_InitStruct.Pin = BNO055_INT_Pin;
  GPIO_InitStruct.Mode = GPIO_MODE_IT_RISING;
  GPIO_InitStruct.Pull = GPIO_NOPULL;
  HAL_GPIO_Init(BNO055_INT_GPIO_Port, &GPIO_InitStruct);

  /*Configure GPIO pin : US2_TRIG_Pin */
  GPIO_InitStruct.Pin = US2_TRIG_Pin;
  GPIO_InitStruct.Mode = GPIO_MODE_OUTPUT_PP;
  GPIO_InitStruct.Pull = GPIO_NOPULL;
  GPIO_InitStruct.Speed = GPIO_SPEED_FREQ_LOW;
  HAL_GPIO_Init(US2_TRIG_GPIO_Port, &GPIO_InitStruct);

  /*Configure GPIO pins : US1_TRIG_Pin PE11 PE12 PE13
                           PE14 */
  GPIO_InitStruct.Pin = US1_TRIG_Pin|GPIO_PIN_11|GPIO_PIN_12|GPIO_PIN_13
                          |GPIO_PIN_14;
  GPIO_InitStruct.Mode = GPIO_MODE_OUTPUT_PP;
  GPIO_InitStruct.Pull = GPIO_NOPULL;
  GPIO_InitStruct.Speed = GPIO_SPEED_FREQ_LOW;
  HAL_GPIO_Init(GPIOE, &GPIO_InitStruct);

  /*Configure GPIO pin : Debug_LED_Pin */
  GPIO_InitStruct.Pin = Debug_LED_Pin;
  GPIO_InitStruct.Mode = GPIO_MODE_OUTPUT_PP;
  GPIO_InitStruct.Pull = GPIO_NOPULL;
  GPIO_InitStruct.Speed = GPIO_SPEED_FREQ_LOW;
  HAL_GPIO_Init(Debug_LED_GPIO_Port, &GPIO_InitStruct);

  /*Configure GPIO pin : US4_TRIG_Pin */
  GPIO_InitStruct.Pin = US4_TRIG_Pin;
  GPIO_InitStruct.Mode = GPIO_MODE_OUTPUT_PP;
  GPIO_InitStruct.Pull = GPIO_NOPULL;
  GPIO_InitStruct.Speed = GPIO_SPEED_FREQ_LOW;
  HAL_GPIO_Init(US4_TRIG_GPIO_Port, &GPIO_InitStruct);

  /*Configure GPIO pin : US3_TRIG_Pin */
  GPIO_InitStruct.Pin = US3_TRIG_Pin;
  GPIO_InitStruct.Mode = GPIO_MODE_OUTPUT_PP;
  GPIO_InitStruct.Pull = GPIO_NOPULL;
  GPIO_InitStruct.Speed = GPIO_SPEED_FREQ_LOW;
  HAL_GPIO_Init(US3_TRIG_GPIO_Port, &GPIO_InitStruct);

  /* EXTI interrupt init*/
  HAL_NVIC_SetPriority(EXTI3_IRQn, 0, 0);
  HAL_NVIC_EnableIRQ(EXTI3_IRQn);

}

 /* MPU Configuration */

void MPU_Config(void)
{
  MPU_Region_InitTypeDef MPU_InitStruct = {0};

  /* Disables the MPU */
  HAL_MPU_Disable();

  /** Initializes and configures the Region and the memory to be protected
  */
  MPU_InitStruct.Enable = MPU_REGION_ENABLE;
  MPU_InitStruct.Number = MPU_REGION_NUMBER0;
  MPU_InitStruct.BaseAddress = 0x0;
  MPU_InitStruct.Size = MPU_REGION_SIZE_4GB;
  MPU_InitStruct.SubRegionDisable = 0x87;
  MPU_InitStruct.TypeExtField = MPU_TEX_LEVEL0;
  MPU_InitStruct.AccessPermission = MPU_REGION_NO_ACCESS;
  MPU_InitStruct.DisableExec = MPU_INSTRUCTION_ACCESS_DISABLE;
  MPU_InitStruct.IsShareable = MPU_ACCESS_SHAREABLE;
  MPU_InitStruct.IsCacheable = MPU_ACCESS_NOT_CACHEABLE;
  MPU_InitStruct.IsBufferable = MPU_ACCESS_NOT_BUFFERABLE;

  HAL_MPU_ConfigRegion(&MPU_InitStruct);
  /* Enables the MPU */
  HAL_MPU_Enable(MPU_PRIVILEGED_DEFAULT);

}

void Error_Handler(void)
{
  __disable_irq();
  while (1)
  {
  }
}
